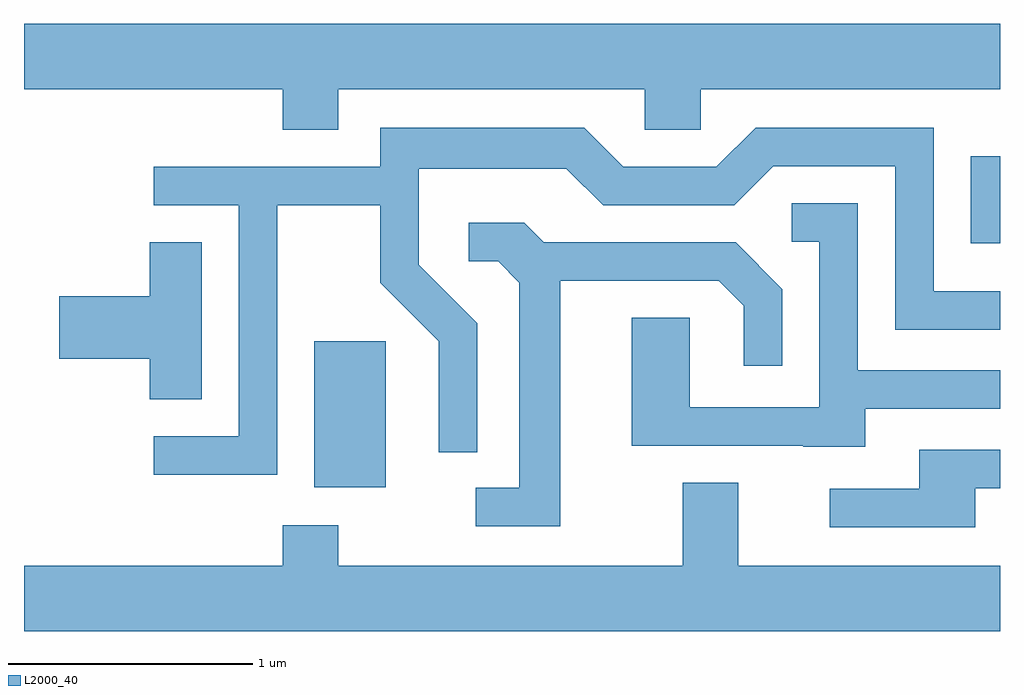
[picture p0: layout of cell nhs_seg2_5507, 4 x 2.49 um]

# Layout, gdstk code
import gdstk
lib = gdstk.Library(unit=1e-6, precision=1e-09)
def R(c, l, rs):  # rectangles x0, y0, x1, y1
    for r in rs: c.add(gdstk.rectangle(r[:2], r[2:], *l))
def P(c, l, *ps):  # polygons
    for p in ps: c.add(gdstk.Polygon(p, *l))
L2000_40 = (2000, 40)

nhs_seg2_5507 = lib.new_cell('nhs_seg2_5507')
R(nhs_seg2_5507, L2000_40, [(348.801,1037.806,349.094,1038.404), (351.491,1038.806,351.611,1039.162)])
P(nhs_seg2_5507, L2000_40, [(348.899,1039.436),(350.156,1039.436),(350.156,1039.271),(350.384,1039.271),(350.384,1039.436),(351.611,1039.436),(351.611,1039.704),(347.611,1039.704),(347.611,1039.436),(348.671,1039.436),(348.671,1039.271),(348.899,1039.271)],
  [(348.649,1038.961),(349.071,1038.961),(349.071,1038.644),(349.311,1038.404),(349.311,1037.948),(349.469,1037.948),(349.469,1038.477),(349.229,1038.717),(349.229,1039.111),(349.834,1039.111),(349.984,1038.961),(350.522,1038.961),(350.682,1039.121),(351.181,1039.121),(351.181,1038.451),(351.611,1038.451),(351.611,1038.609),(351.339,1038.609),(351.339,1039.279),(350.609,1039.279),(350.449,1039.119),(350.067,1039.119),(349.907,1039.279),(349.071,1039.279),(349.071,1039.119),(348.143,1039.119),(348.143,1038.961),(348.491,1038.961),(348.491,1038.014),(348.143,1038.014),(348.143,1037.856),(348.649,1037.856)],
  [(351.059,1038.126),(351.611,1038.126),(351.611,1038.284),(351.029,1038.284),(351.029,1038.969),(350.758,1038.969),(350.758,1038.811),(350.871,1038.811),(350.871,1038.134),(350.339,1038.134),(350.339,1038.499),(350.101,1038.499),(350.101,1037.976),(350.805,1037.976),(350.805,1037.971),(351.059,1037.971)],
  [(349.809,1038.651),(350.459,1038.651),(350.561,1038.549),(350.561,1038.303),(350.719,1038.303),(350.719,1038.617),(350.527,1038.809),(349.742,1038.809),(349.662,1038.889),(349.433,1038.889),(349.433,1038.731),(349.554,1038.731),(349.641,1038.644),(349.641,1037.804),(349.463,1037.804),(349.463,1037.646),(349.809,1037.646)],
  [(348.339,1038.809),(348.126,1038.809),(348.126,1038.589),(347.756,1038.589),(347.756,1038.331),(348.126,1038.331),(348.126,1038.166),(348.339,1038.166)],
  [(351.509,1037.801),(351.611,1037.801),(351.611,1037.959),(351.281,1037.959),(351.281,1037.799),(350.913,1037.799),(350.913,1037.641),(351.509,1037.641)],
  [(351.611,1037.484),(350.539,1037.484),(350.539,1037.824),(350.311,1037.824),(350.311,1037.484),(348.899,1037.484),(348.899,1037.649),(348.671,1037.649),(348.671,1037.484),(347.611,1037.484),(347.611,1037.216),(351.611,1037.216)])

lib.write_gds('nhs_seg2_5507.gds')
